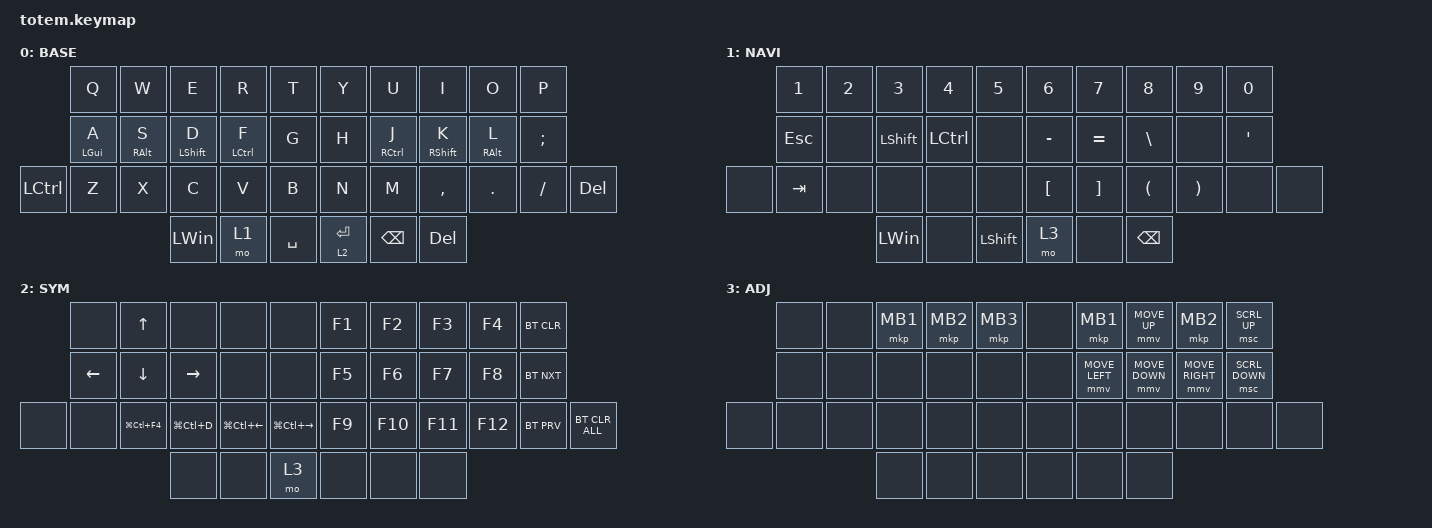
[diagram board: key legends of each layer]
//
//                                                        ▀▀▀▀▀     ▀▀▀▀▀          ▀▀█▀▀
//                                                        ▄▀▀▀▄  ▄  ▄▀▀▀▄  ▄  ▄▀▀▀▄  █  ▄▀▀▀▄
//                                                        █   █  █  █   █  █  █   █  █  █   █
//                                                         ▀▀▀   █   ▀▀▀   █   ▀▀▀   ▀   ▀▀▀
//                                                               █      ▄▄▄█▄▄▄    █   █  
//                                                               ▀      █  █  █     █▄█
//                                                             ▀▀▀▀▀    █  █  █       ▀
//                                                                      ▀  ▀  ▀
//
// ▄▄▄▄▄▄▄▄▄▄▄▄▄▄▄▄▄▄▄▄▄▄▄▄▄▄▄▄▄▄▄▄▄▄▄▄▄▄▄▄▄▄▄▄▄▄▄▄▄▄▄▄▄▄▄▄▄▄▄▄▄▄▄▄▄▄▄▄▄▄▄▄▄▄▄▄▄▄▄▄▄▄▄▄▄▄▄▄▄▄▄▄▄▄▄▄▄▄▄▄▄▄▄▄▄▄▄▄▄▄▄▄▄▄▄▄▄▄▄▄▄▄▄▄▄▄▄▄▄▄▄▄▄▄▄▄▄▄▄▄▄▄▄▄▄▄▄▄▄

#include <behaviors.dtsi>
#include <dt-bindings/zmk/bt.h>
#include <dt-bindings/zmk/keys.h>
#include <dt-bindings/zmk/pointing.h>

#define BASE 0
#define NAV  1
#define SYM  2
#define ADJ  3
#define TVP1 4
#define TVP2 5

&mt {
    global-quick-tap;
    flavor = "tap-preferred";
    tapping-term-ms = <200>;
};

/ {
    combos { compatible = "zmk,combos"; };

    keymap {
        compatible = "zmk,keymap";

        // ▄▄▄▄▄▄▄▄▄▄▄▄▄▄▄▄▄▄▄▄▄▄▄▄▄▄▄▄▄▄▄▄▄▄▄▄▄▄▄▄▄▄▄▄▄▄▄▄▄▄▄▄▄▄▄▄▄▄▄▄▄▄▄▄▄▄▄▄▄▄▄▄▄▄▄▄▄▄▄▄▄▄▄▄▄▄▄▄▄▄▄▄▄▄▄▄▄▄▄▄▄▄▄▄▄▄▄▄▄▄▄▄▄▄▄▄▄▄▄▄▄▄▄▄▄▄▄▄▄▄▄▄▄▄▄▄▄▄▄▄▄▄▄▄▄▄▄▄▄

        base_layer {
            // ┏━━━━━━━━━━━━━━━━━━━━━━━━━━━━━━━━━━━━━━━┓

            label = "BASE";

            // ┗━━━━━━━━━━━━━━━━━━━━━━━━━━━━━━━━━━━━━━━┛
            //             ┏━━━━━━━━━━━┳━━━━━━━━━━━┳━━━━━━━━━━━┳━━━━━━━━━━━┳━━━━━━━━━━━┓   ┏━━━━━━━━━━━┳━━━━━━━━━━━┳━━━━━━━━━━━┳━━━━━━━━━━━┳━━━━━━━━━━━┓
            //             ┃     Q     ┃     W     ┃     F     ┃     P     ┃     G     ┃   ┃     J     ┃     L     ┃     U     ┃     Y     ┃     ;     ┃
            //             ┣━━━━━━━━━━━╋━━━━━━━━━━━╋━━━━━━━━━━━╋━━━━━━━━━━━╋━━━━━━━━━━━┫   ┣━━━━━━━━━━━╋━━━━━━━━━━━╋━━━━━━━━━━━╋━━━━━━━━━━━╋━━━━━━━━━━━┫
            //             ┃     A     ┃     R     ┃     S     ┃     T     ┃     D     ┃   ┃     H     ┃     N     ┃     E     ┃     I     ┃     O     ┃
            // ┏━━━━━━━━━━━╋━━━━━━━━━━━╋━━━━━━━━━━━╋━━━━━━━━━━━╋━━━━━━━━━━━╋━━━━━━━━━━━┫   ┣━━━━━━━━━━━╋━━━━━━━━━━━╋━━━━━━━━━━━╋━━━━━━━━━━━╋━━━━━━━━━━━╋━━━━━━━━━━━┓
            // ┃     Q     ┃     Z     ┃     X     ┃     C     ┃     V     ┃     B     ┃   ┃     K     ┃     M     ┃     ,     ┃     .     ┃     /     ┃     \     ┃
            // ┗━━━━━━━━━━━┻━━━━━━━━━━━┻━━━━━━━━━━━╋━━━━━━━━━━━╋━━━━━━━━━━━╋━━━━━━━━━━━┫   ┣━━━━━━━━━━━╋━━━━━━━━━━━╋━━━━━━━━━━━╋━━━━━━━━━━━┻━━━━━━━━━━━┻━━━━━━━━━━━┛
            //                                     ┃    DEL    ┃    TAB    ┃    SPC    ┃   ┃   ENTER   ┃           ┃   BSPC    ┃
            //                                     ┗━━━━━━━━━━━┻━━━━━━━━━━━┻━━━━━━━━━━━┛   ┗━━━━━━━━━━━┻━━━━━━━━━━━┻━━━━━━━━━━━┛

            bindings = <
           &kp Q       &kp W            &kp E         &kp R               &kp T        &kp Y        &kp U          &kp I              &kp O            &kp P
           &mt LGUI A  &mt RIGHT_ALT S  &mt LSHIFT D  &mt LEFT_CONTROL F  &kp G        &kp H        &mt RCTRL J    &mt RIGHT_SHIFT K  &mt RIGHT_ALT L  &kp SEMICOLON
&kp LCTRL  &kp Z       &kp X            &kp C         &kp V               &kp B        &kp N        &kp M          &kp COMMA          &kp DOT          &kp FSLH       &kp DELETE
                                        &kp LEFT_WIN  &mo 1               &kp SPACE    &lt 2 ENTER  &kp BACKSPACE  &kp DEL
            >;
        };

        // ▄▄▄▄▄▄▄▄▄▄▄▄▄▄▄▄▄▄▄▄▄▄▄▄▄▄▄▄▄▄▄▄▄▄▄▄▄▄▄▄▄▄▄▄▄▄▄▄▄▄▄▄▄▄▄▄▄▄▄▄▄▄▄▄▄▄▄▄▄▄▄▄▄▄▄▄▄▄▄▄▄▄▄▄▄▄▄▄▄▄▄▄▄▄▄▄▄▄▄▄▄▄▄▄▄▄▄▄▄▄▄▄▄▄▄▄▄▄▄▄▄▄▄▄▄▄▄▄▄▄▄▄▄▄▄▄▄▄▄▄▄▄▄▄▄▄▄▄▄

        nav_layer {
            // ┏━━━━━━━━━━━━━━━━━━━━━━━━━━━━━━━━━━━━━━━┓

            label = "NAVI";

            // ┗━━━━━━━━━━━━━━━━━━━━━━━━━━━━━━━━━━━━━━━┛
            //             ┏━━━━━━━━━━━┳━━━━━━━━━━━┳━━━━━━━━━━━┳━━━━━━━━━━━┳━━━━━━━━━━━┓   ┏━━━━━━━━━━━┳━━━━━━━━━━━┳━━━━━━━━━━━┳━━━━━━━━━━━┳━━━━━━━━━━━┓
            //             ┃           ┃           ┃     UP    ┃           ┃     {     ┃   ┃     }     ┃     7     ┃     8     ┃     9     ┃     +     ┃
            //             ┣━━━━━━━━━━━╋━━━━━━━━━━━╋━━━━━━━━━━━╋━━━━━━━━━━━╋━━━━━━━━━━━┫   ┣━━━━━━━━━━━╋━━━━━━━━━━━╋━━━━━━━━━━━╋━━━━━━━━━━━╋━━━━━━━━━━━┫
            //             ┃   SHIFT   ┃   LEFT    ┃    DOWN   ┃   RIGHT   ┃     [     ┃   ┃     ]     ┃     4     ┃     5     ┃     6     ┃     -     ┃
            // ┏━━━━━━━━━━━╋━━━━━━━━━━━╋━━━━━━━━━━━╋━━━━━━━━━━━╋━━━━━━━━━━━╋━━━━━━━━━━━┫   ┣━━━━━━━━━━━╋━━━━━━━━━━━╋━━━━━━━━━━━╋━━━━━━━━━━━╋━━━━━━━━━━━╋━━━━━━━━━━━┓
            // ┃           ┃           ┃   P UP    ┃  C LOCK   ┃  P DOWN   ┃     (     ┃   ┃     )     ┃     1     ┃     2     ┃     3     ┃     *     ┃           ┃
            // ┗━━━━━━━━━━━┻━━━━━━━━━━━┻━━━━━━━━━━━╋━━━━━━━━━━━╋━━━━━━━━━━━╋━━━━━━━━━━━┫   ┣━━━━━━━━━━━╋━━━━━━━━━━━╋━━━━━━━━━━━╋━━━━━━━━━━━┻━━━━━━━━━━━┻━━━━━━━━━━━┛
            //                                     ┃           ┃    TAB    ┃    SPC    ┃   ┃    DEL    ┃     0     ┃           ┃
            //                                     ┗━━━━━━━━━━━┻━━━━━━━━━━━┻━━━━━━━━━━━┛   ┗━━━━━━━━━━━┻━━━━━━━━━━━┻━━━━━━━━━━━┛

            bindings = <
       &kp NUMBER_1  &kp NUMBER_2  &kp NUMBER_3    &kp NUMBER_4  &kp N5            &kp NUMBER_6      &kp N7             &kp N8                &kp N9                 &kp N0
       &kp ESCAPE    &none         &kp LEFT_SHIFT  &kp LCTRL     &none             &kp MINUS         &kp EQUAL          &kp BACKSLASH         &none                  &kp SQT
&none  &kp TAB       &none         &none           &none         &none             &kp LEFT_BRACKET  &kp RIGHT_BRACKET  &kp LEFT_PARENTHESIS  &kp RIGHT_PARENTHESIS  &none    &none
                                   &kp LEFT_WIN    &none         &kp LEFT_SHIFT    &mo 3             &none              &kp BACKSPACE
            >;
        };

        // ▄▄▄▄▄▄▄▄▄▄▄▄▄▄▄▄▄▄▄▄▄▄▄▄▄▄▄▄▄▄▄▄▄▄▄▄▄▄▄▄▄▄▄▄▄▄▄▄▄▄▄▄▄▄▄▄▄▄▄▄▄▄▄▄▄▄▄▄▄▄▄▄▄▄▄▄▄▄▄▄▄▄▄▄▄▄▄▄▄▄▄▄▄▄▄▄▄▄▄▄▄▄▄▄▄▄▄▄▄▄▄▄▄▄▄▄▄▄▄▄▄▄▄▄▄▄▄▄▄▄▄▄▄▄▄▄▄▄▄▄▄▄▄▄▄▄▄▄▄

        sim_layer {
            // ┏━━━━━━━━━━━━━━━━━━━━━━━━━━━━━━━━━━━━━━━┓

            label = "SYM";

            // ┗━━━━━━━━━━━━━━━━━━━━━━━━━━━━━━━━━━━━━━━┛
            //             ┏━━━━━━━━━━━┳━━━━━━━━━━━┳━━━━━━━━━━━┳━━━━━━━━━━━┳━━━━━━━━━━━┓   ┏━━━━━━━━━━━┳━━━━━━━━━━━┳━━━━━━━━━━━┳━━━━━━━━━━━┳━━━━━━━━━━━┓
            //             ┃     !     ┃     @     ┃     #     ┃     $     ┃     %     ┃   ┃     ˆ     ┃     &     ┃     Ü     ┃     '     ┃     "     ┃
            //             ┣━━━━━━━━━━━╋━━━━━━━━━━━╋━━━━━━━━━━━╋━━━━━━━━━━━╋━━━━━━━━━━━┫   ┣━━━━━━━━━━━╋━━━━━━━━━━━╋━━━━━━━━━━━╋━━━━━━━━━━━╋━━━━━━━━━━━┫
            //             ┃     Ä     ┃           ┃    SZ     ┃           ┃           ┃   ┃   MUTE    ┃   YEN     ┃   EURO    ┃  POUND    ┃     Ö     ┃
            // ┏━━━━━━━━━━━╋━━━━━━━━━━━╋━━━━━━━━━━━╋━━━━━━━━━━━╋━━━━━━━━━━━╋━━━━━━━━━━━┫   ┣━━━━━━━━━━━╋━━━━━━━━━━━╋━━━━━━━━━━━╋━━━━━━━━━━━╋━━━━━━━━━━━╋━━━━━━━━━━━┓
            // ┃           ┃  EMAIL1   ┃  EMAIL2   ┃           ┃           ┃           ┃   ┃   VOL-    ┃   VOL+    ┃   LAST    ┃   NEXT    ┃     \     ┃           ┃
            // ┗━━━━━━━━━━━┻━━━━━━━━━━━┻━━━━━━━━━━━╋━━━━━━━━━━━╋━━━━━━━━━━━╋━━━━━━━━━━━┫   ┣━━━━━━━━━━━╋━━━━━━━━━━━╋━━━━━━━━━━━╋━━━━━━━━━━━┻━━━━━━━━━━━┻━━━━━━━━━━━┛
            //                                     ┃           ┃    GIF    ┃    ADJ    ┃   ┃           ┃           ┃           ┃
            //                                     ┗━━━━━━━━━━━┻━━━━━━━━━━━┻━━━━━━━━━━━┛   ┗━━━━━━━━━━━┻━━━━━━━━━━━┻━━━━━━━━━━━┛

            bindings = <
       &none           &kp UP_ARROW    &none          &none                   &none                      &kp F1  &kp F2   &kp F3   &kp F4   &bt BT_CLR
       &kp LEFT_ARROW  &kp DOWN_ARROW  &kp RIGHT      &none                   &none                      &kp F5  &kp F6   &kp F7   &kp F8   &bt BT_NXT
&none  &none           &kp LG(LC(F4))  &kp LG(LC(D))  &kp LG(LC(LEFT_ARROW))  &kp LG(LC(RIGHT_ARROW))    &kp F9  &kp F10  &kp F11  &kp F12  &bt BT_PRV  &bt BT_CLR_ALL
                                       &none          &none                   &mo 3                      &none   &none    &none
            >;
        };

        // ▄▄▄▄▄▄▄▄▄▄▄▄▄▄▄▄▄▄▄▄▄▄▄▄▄▄▄▄▄▄▄▄▄▄▄▄▄▄▄▄▄▄▄▄▄▄▄▄▄▄▄▄▄▄▄▄▄▄▄▄▄▄▄▄▄▄▄▄▄▄▄▄▄▄▄▄▄▄▄▄▄▄▄▄▄▄▄▄▄▄▄▄▄▄▄▄▄▄▄▄▄▄▄▄▄▄▄▄▄▄▄▄▄▄▄▄▄▄▄▄▄▄▄▄▄▄▄▄▄▄▄▄▄▄▄▄▄▄▄▄▄▄▄▄▄▄▄▄▄

        adjust_layer {
            // ┏━━━━━━━━━━━━━━━━━━━━━━━━━━━━━━━━━━━━━━━┓

            label = "ADJ";

            // ┗━━━━━━━━━━━━━━━━━━━━━━━━━━━━━━━━━━━━━━━┛
            //             ┏━━━━━━━━━━━┳━━━━━━━━━━━┳━━━━━━━━━━━┳━━━━━━━━━━━┳━━━━━━━━━━━┓   ┏━━━━━━━━━━━┳━━━━━━━━━━━┳━━━━━━━━━━━┳━━━━━━━━━━━┳━━━━━━━━━━━┓
            //             ┃   RESET   ┃ BT CLEAR  ┃  OUT TOG  ┃           ┃           ┃   ┃           ┃    F7     ┃    F8     ┃    F9     ┃    F12    ┃
            //             ┣━━━━━━━━━━━╋━━━━━━━━━━━╋━━━━━━━━━━━╋━━━━━━━━━━━╋━━━━━━━━━━━┫   ┣━━━━━━━━━━━╋━━━━━━━━━━━╋━━━━━━━━━━━╋━━━━━━━━━━━╋━━━━━━━━━━━┫
            //             ┃ BOOTLOAD  ┃ BT NEXT   ┃           ┃           ┃           ┃   ┃           ┃    F4     ┃    F5     ┃    F6     ┃    F11    ┃
            // ┏━━━━━━━━━━━╋━━━━━━━━━━━╋━━━━━━━━━━━╋━━━━━━━━━━━╋━━━━━━━━━━━╋━━━━━━━━━━━┫   ┣━━━━━━━━━━━╋━━━━━━━━━━━╋━━━━━━━━━━━╋━━━━━━━━━━━╋━━━━━━━━━━━╋━━━━━━━━━━━┓
            // ┃           ┃           ┃ BT PREV   ┃           ┃           ┃           ┃   ┃           ┃    F1     ┃    F2     ┃    F3     ┃    F10    ┃           ┃
            // ┗━━━━━━━━━━━┻━━━━━━━━━━━┻━━━━━━━━━━━╋━━━━━━━━━━━╋━━━━━━━━━━━╋━━━━━━━━━━━┫   ┣━━━━━━━━━━━╋━━━━━━━━━━━╋━━━━━━━━━━━╋━━━━━━━━━━━┻━━━━━━━━━━━┻━━━━━━━━━━━┛
            //                                     ┃           ┃           ┃           ┃   ┃           ┃           ┃           ┃
            //                                     ┗━━━━━━━━━━━┻━━━━━━━━━━━┻━━━━━━━━━━━┛   ┗━━━━━━━━━━━┻━━━━━━━━━━━┻━━━━━━━━━━━┛

            bindings = <
       &none  &none  &mkp MB1  &mkp MB2  &mkp MB3    &none  &mkp MB1        &mmv MOVE_UP    &mkp MB2         &msc SCRL_UP
       &none  &none  &none     &none     &none       &none  &mmv MOVE_LEFT  &mmv MOVE_DOWN  &mmv MOVE_RIGHT  &msc SCRL_DOWN
&none  &none  &none  &none     &none     &none       &none  &none           &none           &none            &none           &none
                     &none     &none     &none       &none  &none           &none
            >;
        };

        // ▄▄▄▄▄▄▄▄▄▄▄▄▄▄▄▄▄▄▄▄▄▄▄▄▄▄▄▄▄▄▄▄▄▄▄▄▄▄▄▄▄▄▄▄▄▄▄▄▄▄▄▄▄▄▄▄▄▄▄▄▄▄▄▄▄▄▄▄▄▄▄▄▄▄▄▄▄▄▄▄▄▄▄▄▄▄▄▄▄▄▄▄▄▄▄▄▄▄▄▄▄▄▄▄▄▄▄▄▄▄▄▄▄▄▄▄▄▄▄▄▄▄▄▄▄▄▄▄▄▄▄▄▄▄▄▄▄▄▄▄▄▄▄▄▄▄▄▄▄
        // ▄▄▄▄▄▄▄▄▄▄▄▄▄▄▄▄▄▄▄▄▄▄▄▄▄▄▄▄▄▄▄▄▄▄▄▄▄▄▄▄▄▄▄▄▄▄▄▄▄▄▄▄▄▄▄▄▄▄▄▄▄▄▄▄▄▄▄▄▄▄▄▄▄▄▄▄▄▄▄▄▄▄▄▄▄▄▄▄▄▄▄▄▄▄▄▄▄▄▄▄▄▄▄▄▄▄▄▄▄▄▄▄▄▄▄▄▄▄▄▄▄▄▄▄▄▄▄▄▄▄▄▄▄▄▄▄▄▄▄▄▄▄▄▄▄▄▄▄▄
    };
};
